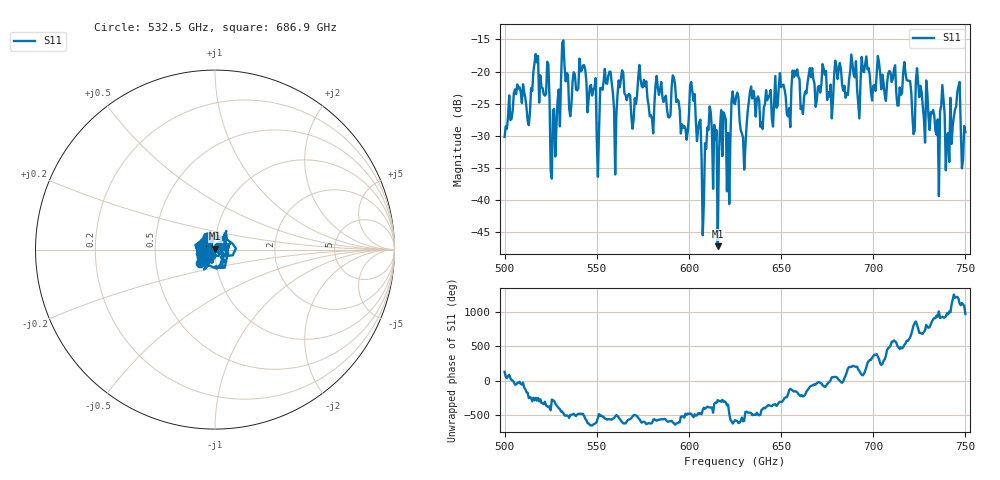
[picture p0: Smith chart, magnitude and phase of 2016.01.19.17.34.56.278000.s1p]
!Created with skrf (http://scikit-rf.org).
# GHz S RI R 50.0
!freq ReS11 ImS11
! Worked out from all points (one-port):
!   401 points, 500 GHz to 750 GHz, reference 50 ohm
!   lowest |S11| = -47.2 dB at 615.6 GHz (marker M1), VSWR 1.01, Z = 50.1 + j0.433 ohm
!   |S11| at or under -10 dB: start of sweep to end of sweep
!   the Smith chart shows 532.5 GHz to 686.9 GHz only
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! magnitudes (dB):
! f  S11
! 500 GHz  -30.2
! 513.1 GHz  -28.4
! 516.9 GHz  -17.3
! 523.1 GHz  -18.5
! 526.2 GHz  -26.0
! 531.2 GHz  -15.5
! 541.9 GHz  -19.8
! 551.2 GHz  -29.0
! 553.1 GHz  -22.8
! 560 GHz  -36.0
! 562.5 GHz  -22.4
! 593.8 GHz  -24.4
! 598.1 GHz  -28.9
! 601.9 GHz  -23.2
! 608.1 GHz  -40.2
! 611.2 GHz  -25.4
! 615.6 GHz  -47.2
! 618.8 GHz  -26.4
! 621.9 GHz  -40.6
! 625 GHz  -25.1
! 629.4 GHz  -30.3
! 633.8 GHz  -22.3
! 656.2 GHz  -19.9
! 687.5 GHz  -19.9
! 718.8 GHz  -21.4
! 740 GHz  -29.9
! 745.6 GHz  -23.1
! 750 GHz  -29.4
